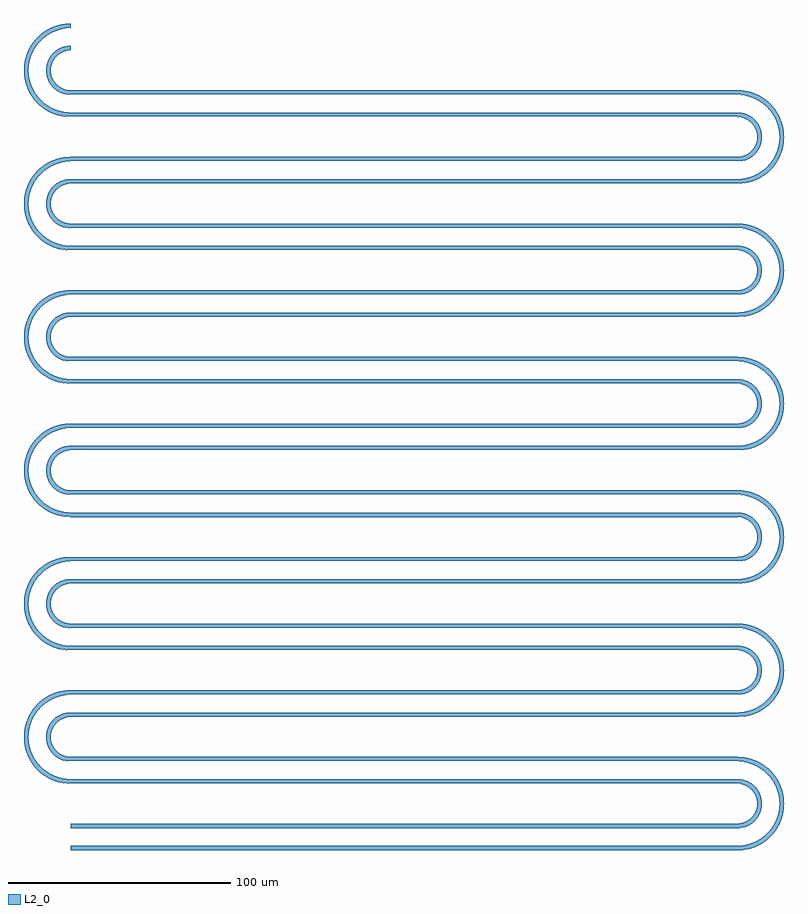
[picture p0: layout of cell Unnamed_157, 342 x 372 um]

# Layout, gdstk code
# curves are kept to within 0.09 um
import gdstk
lib = gdstk.Library(unit=1e-6, precision=1e-09)
def P(c, l, *ps):  # polygons
    for p in ps: c.add(gdstk.Polygon(p, *l))
L2_0 = (2, 0)

unnamed_157 = lib.new_cell('Unnamed_157')
P(unnamed_157, L2_0, [(0,-6),(0,-4),(300.119,-4),(302.561,-3.827),(304.961,-3.341),(308.043,-2.214),(310.788,-0.641),(313.276,1.407),(315.417,3.895),(317.072,6.66),(318.236,9.665),(318.882,12.883),(318.968,16.105),(318.495,19.353),(317.47,22.471),(315.956,25.316),(314.064,27.776),(311.702,29.969),(309.057,31.703),(306.104,32.993),(302.975,33.766),(300.119,34),(-0.45,34.009),(-2.738,34.346),(-4.999,35.201),(-6.937,36.463),(-8.548,38.076),(-9.807,40.017),(-10.667,42.312),(-10.993,44.602),(-10.821,46.978),(-10.343,48.746),(-9.544,50.47),(-8.46,52.031),(-7.124,53.382),(-5.575,54.483),(-3.957,55.264),(-2.131,55.792),(-0.346,55.995),(300.119,56),(302.028,56.108),(303.974,56.42),(305.82,56.913),(307.608,57.59),(309.37,58.471),(311.081,59.566),(312.665,60.836),(314.064,62.224),(315.205,63.606),(316.66,65.864),(317.803,68.361),(318.574,70.997),(318.961,73.776),(318.934,76.582),(318.495,79.353),(317.608,82.14),(316.454,84.5),(318.728,84.5),(319.583,82.584),(320.263,80.515),(320.736,78.321),(320.972,76.089),(320.961,73.713),(320.681,71.353),(320.174,69.167),(319.486,67.17),(318.508,65.077),(317.306,63.104),(315.808,61.175),(314.291,59.612),(312.567,58.175),(310.7,56.93),(308.71,55.891),(306.558,55.05),(304.392,54.464),(302.11,54.106),(300.132,54),(-0.283,53.996),(-1.827,53.813),(-3.237,53.398),(-4.61,52.73),(-5.893,51.803),(-6.976,50.687),(-7.85,49.402),(-8.491,47.985),(-8.878,46.479),(-8.991,44.59),(-8.677,42.609),(-7.972,40.822),(-6.94,39.269),(-5.61,37.962),(-3.989,36.932),(-2.186,36.269),(-0.283,36.004),(300.132,36),(303.354,35.731),(306.809,34.866),(310.01,33.461),(313.09,31.421),(315.677,28.973),(317.813,26.123),(319.386,23.074),(320.457,19.746),(320.972,16.089),(320.862,12.595),(320.137,9.04),(318.869,5.782),(317.04,2.726),(314.767,0.069),(312.032,-2.212),(308.95,-3.997),(305.483,-5.272),(302.7,-5.826),(300.132,-6)],
  [(316.454,84.5),(315.169,86.442),(313.53,88.34),(311.702,89.969),(309.783,91.288),(307.498,92.458),(305.249,93.261),(302.975,93.766),(300.597,93.991),(-0.104,94),(-2.738,94.346),(-4.531,94.976),(-6.16,95.886),(-7.636,97.082),(-8.926,98.571),(-9.884,100.172),(-10.577,101.978),(-10.932,103.775),(-10.977,105.709),(-10.667,107.688),(-10.087,109.389),(-9.238,110.972),(-8.072,112.473),(-6.693,113.73),(-4.999,114.799),(-3.271,115.503),(-1.483,115.9),(-0.104,116),(301.254,116.041),(303.093,116.253),(304.961,116.659),(306.778,117.25),(308.581,118.048),(310.341,119.06),(311.796,120.105),(313.276,121.407),(314.536,122.764),(315.658,124.237),(316.66,125.864),(317.47,127.529),(318.15,129.379),(318.646,131.348),(318.913,133.18),(319,135.09),(318.895,136.998),(318.269,140.22),(317.15,143.178),(315.521,145.959),(313.361,148.509),(310.837,150.607),(308.043,152.214),(304.961,153.341),(301.79,153.916),(-0.519,154.012),(-2.972,154.409),(-5.183,155.297),(-7.124,156.618),(-8.844,158.459),(-10.087,160.611),(-10.802,162.92),(-10.998,165.225),(-10.667,167.688),(-9.807,169.983),(-8.46,172.031),(-6.693,173.73),(-4.594,174.995),(306.388,174.995),(303.354,174.269),(300.132,174),(-0.085,174),(-1.993,173.777),(-3.552,173.27),(-4.922,172.535),(-6.125,171.595),(-7.253,170.329),(-8.062,169.001),(-8.654,167.473),(-8.959,165.862),(-8.969,164.251),(-8.699,162.691),(-8.148,161.177),(-7.385,159.855),(-6.309,158.581),(-5.04,157.543),(-3.63,156.764),(-2.103,156.249),(-0.509,156.014),(300.132,156),(302.7,155.826),(304.65,155.479),(306.684,154.908),(308.469,154.217),(310.357,153.269),(312.032,152.212),(313.65,150.959),(315.138,149.555),(316.442,148.064),(317.671,146.346),(318.692,144.572),(319.535,142.707),(320.174,140.833),(320.646,138.842),(320.922,136.814),(320.999,134.769),(320.884,132.792),(320.174,129.167),(318.898,125.842),(317.117,122.833),(314.767,120.069),(312.032,117.788),(308.71,115.891),(305.355,114.694),(301.847,114.081),(-0.283,113.996),(-2.103,113.751),(-3.836,113.142),(-5.454,112.16),(-6.775,110.925),(-7.85,109.402),(-8.589,107.689),(-8.959,105.862),(-8.941,103.969),(-8.614,102.392),(-8.024,100.923),(-7.185,99.58),(-6.125,98.405),(-4.851,97.419),(-3.474,96.697),(-1.938,96.211),(-0.283,96.004),(301.254,95.963),(304.392,95.536),(307.43,94.642),(310.242,93.333),(312.725,91.706),(314.483,90.207),(316.066,88.524),(317.491,86.622),(318.692,84.572)],
  [(-4.594,174.995),(-2.402,175.735),(-0.104,176),(300.119,176),(302.502,176.165),(304.788,176.613),(307.881,177.711),(310.64,179.258),(313.017,181.159),(315.205,183.606),(316.939,186.393),(318.15,189.379),(318.831,192.468),(318.983,195.806),(318.574,199.003),(317.608,202.14),(316.148,205.013),(314.144,207.687),(311.796,209.895),(309.057,211.703),(306.104,212.993),(302.975,213.766),(300.119,214),(-0.45,214.009),(-2.738,214.346),(-4.999,215.201),(-6.937,216.463),(-8.548,218.076),(-9.807,220.017),(-10.667,222.312),(-10.993,224.602),(-10.821,226.978),(-10.343,228.746),(-9.544,230.47),(-8.46,232.031),(-7.124,233.382),(-5.575,234.483),(-3.957,235.264),(-2.131,235.792),(-0.346,235.995),(301.79,236.084),(304.149,236.458),(306.442,237.125),(308.687,238.102),(310.837,239.393),(312.798,240.956),(314.536,242.764),(315.956,244.684),(317.15,246.822),(318.059,249.095),(318.646,251.348),(318.961,253.776),(318.957,256.284),(318.646,258.652),(317.964,261.189),(317.046,263.393),(315.835,265.5),(318.187,265.5),(319.486,262.83),(320.331,260.26),(320.795,257.929),(320.989,255.693),(320.943,253.449),(320.658,251.223),(320.137,249.04),(319.386,246.926),(318.445,244.961),(317.231,242.995),(315.808,241.175),(314.291,239.612),(312.567,238.175),(310.7,236.93),(308.71,235.891),(306.558,235.05),(304.392,234.464),(302.11,234.106),(300.132,234),(-0.283,233.996),(-1.827,233.813),(-3.237,233.398),(-4.61,232.73),(-5.893,231.803),(-6.976,230.687),(-7.85,229.402),(-8.491,227.985),(-8.878,226.479),(-8.991,224.59),(-8.677,222.609),(-7.972,220.822),(-6.94,219.269),(-5.61,217.962),(-3.989,216.932),(-2.186,216.269),(-0.283,216.004),(300.132,216),(303.354,215.731),(306.809,214.866),(310.01,213.461),(312.882,211.585),(315.5,209.169),(317.671,206.346),(319.283,203.318),(320.411,199.939),(320.943,196.551),(320.91,193.055),(320.263,189.485),(319.095,186.26),(317.38,183.213),(315.184,180.493),(312.567,178.175),(309.543,176.293),(306.388,174.995)],
  [(315.835,265.5),(314.536,267.236),(312.886,268.963),(311.081,270.434),(309.162,271.645),(307.112,272.619),(304.961,273.341),(302.739,273.802),(300.597,273.991),(-0.104,274),(-2.671,274.329),(-4.531,274.976),(-6.16,275.886),(-7.611,277.058),(-8.844,278.459),(-9.807,280.017),(-10.508,281.746),(-10.911,283.603),(-10.989,285.501),(-10.731,287.419),(-10.168,289.198),(-9.294,290.885),(-8.119,292.422),(-6.693,293.73),(-5.183,294.703),(-3.402,295.461),(-1.483,295.9),(-0.104,296),(301.254,296.041),(303.093,296.253),(304.961,296.659),(306.778,297.25),(308.581,298.048),(310.341,299.06),(311.796,300.105),(313.276,301.407),(314.536,302.764),(315.658,304.237),(316.66,305.864),(317.47,307.529),(318.15,309.379),(318.646,311.348),(318.913,313.18),(319,315.09),(318.895,316.998),(318.269,320.22),(317.15,323.178),(315.521,325.959),(313.361,328.509),(310.837,330.607),(308.043,332.214),(304.961,333.341),(301.79,333.916),(-0.519,334.012),(-2.972,334.409),(-5.183,335.297),(-7.124,336.618),(-8.844,338.459),(-10.087,340.611),(-10.802,342.92),(-10.998,345.225),(-10.667,347.688),(-10.045,349.484),(-9.143,351.117),(-8.001,352.549),(-6.693,353.73),(-5.183,354.703),(-3.567,355.406),(-1.825,355.848),(0,356),(0,354),(-1.993,353.777),(-3.836,353.142),(-5.521,352.108),(-6.94,350.731),(-7.766,349.549),(-8.443,348.118),(-8.838,346.702),(-8.999,345.156),(-8.878,343.521),(-8.393,341.75),(-7.589,340.161),(-6.566,338.844),(-5.295,337.722),(-3.759,336.822),(-2.103,336.249),(-0.34,336.006),(301.847,335.919),(305.355,335.306),(308.71,334.109),(311.814,332.362),(314.626,330.069),(316.962,327.381),(318.811,324.336),(320.137,320.96),(320.862,317.405),(320.996,315.429),(320.933,313.318),(320.658,311.223),(320.21,309.294),(319.559,307.354),(318.722,305.487),(317.707,303.71),(316.524,302.04),(315.184,300.493),(313.75,299.127),(312.14,297.864),(310.357,296.731),(308.469,295.783),(306.684,295.092),(304.65,294.521),(302.7,294.174),(300.132,294),(-0.509,293.986),(-2.103,293.751),(-3.63,293.236),(-5.04,292.457),(-6.248,291.478),(-7.303,290.26),(-8.124,288.874),(-8.677,287.391),(-8.959,285.862),(-8.969,284.251),(-8.699,282.691),(-8.148,281.177),(-7.385,279.855),(-6.309,278.581),(-5.087,277.575),(-3.759,276.822),(-2.186,276.269),(-0.085,276),(300.66,275.99),(303.614,275.687),(306.558,274.95),(309.484,273.737),(312.032,272.212),(313.75,270.873),(315.5,269.169),(316.962,267.381),(318.187,265.5)],
  [(0,4),(0,6),(300.085,6),(301.993,6.223),(303.552,6.73),(304.922,7.465),(306.125,8.405),(307.253,9.671),(308.062,10.999),(308.654,12.527),(308.959,14.138),(308.969,15.749),(308.699,17.309),(308.148,18.823),(307.385,20.145),(306.309,21.419),(305.04,22.457),(303.63,23.236),(302.103,23.751),(300.509,23.986),(-0.132,24),(-2.7,24.174),(-4.65,24.521),(-6.684,25.092),(-8.469,25.783),(-10.357,26.731),(-12.032,27.788),(-13.65,29.041),(-15.138,30.445),(-16.442,31.936),(-17.671,33.654),(-18.692,35.428),(-19.486,37.17),(-20.137,39.04),(-20.646,41.158),(-20.91,43.055),(-20.91,46.945),(-20.263,50.515),(-18.983,53.98),(-17.231,57.005),(-14.861,59.838),(-12.032,62.212),(-8.95,63.997),(-5.483,65.272),(-1.847,65.919),(300.283,66.004),(302.186,66.269),(304.039,66.957),(305.676,68.015),(307.047,69.401),(308.087,71.05),(308.748,72.883),(308.999,74.844),(308.827,76.758),(308.393,78.25),(307.723,79.622),(306.849,80.839),(305.742,81.931),(304.537,82.773),(303.105,83.448),(301.66,83.846),(300.198,83.998),(-1.254,84.037),(-3.744,84.336),(-6.307,84.969),(-8.71,85.891),(-11.039,87.135),(-13.193,88.661),(-15.138,90.445),(-16.726,92.301),(-18.187,94.5),(-15.835,94.5),(-14.381,92.582),(-12.665,90.836),(-10.64,89.258),(-8.367,87.941),(-6.442,87.125),(-4.556,86.554),(-2.561,86.173),(-0.597,86.009),(300.519,85.988),(302.301,85.757),(303.957,85.264),(305.575,84.483),(307.018,83.471),(308.326,82.189),(309.349,80.797),(310.168,79.198),(310.723,77.453),(311,75.086),(310.746,72.649),(309.988,70.39),(308.719,68.293),(307.018,66.529),(304.999,65.201),(302.738,64.346),(300.45,64.009),(-1.79,63.916),(-4.961,63.341),(-8.043,62.214),(-10.788,60.641),(-13.276,58.593),(-15.347,56.202),(-17.072,53.34),(-18.236,50.335),(-18.882,47.117),(-18.999,45.209),(-18.924,43.299),(-18.646,41.348),(-18.185,39.494),(-17.516,37.639),(-16.717,35.969),(-15.658,34.237),(-14.536,32.764),(-13.276,31.407),(-11.796,30.105),(-10.341,29.06),(-8.581,28.048),(-6.778,27.25),(-4.961,26.659),(-3.093,26.253),(-1.254,26.041),(300.104,26),(301.483,25.9),(303.402,25.461),(305.183,24.703),(306.693,23.73),(308.119,22.422),(309.294,20.885),(310.168,19.198),(310.731,17.419),(310.989,15.501),(310.911,13.603),(310.508,11.746),(309.807,10.017),(308.761,8.348),(307.511,6.963),(305.929,5.734),(304.214,4.839),(302.436,4.273),(300.104,4)],
  [(-18.187,94.5),(-19.309,96.743),(-20.21,99.294),(-20.776,101.94),(-20.993,104.439),(-20.91,106.945),(-20.486,109.618),(-19.745,112.151),(-18.722,114.513),(-17.38,116.787),(-15.808,118.825),(-13.998,120.655),(-12.032,122.212),(-9.719,123.616),(-7.43,124.642),(-4.907,125.419),(-2.372,125.866),(-0.132,126),(300.283,126.004),(301.938,126.211),(303.474,126.697),(304.851,127.419),(306.125,128.405),(307.185,129.58),(308.024,130.923),(308.614,132.392),(308.931,133.885),(308.969,135.749),(308.614,137.608),(307.905,139.303),(306.867,140.818),(305.521,142.108),(303.938,143.093),(302.186,143.731),(300.283,143.996),(-0.132,144),(-3.354,144.269),(-6.809,145.134),(-10.01,146.539),(-12.882,148.415),(-15.5,150.831),(-17.671,153.654),(-19.283,156.682),(-20.411,160.061),(-20.943,163.449),(-20.91,166.945),(-20.263,170.515),(-19.095,173.74),(-17.38,176.787),(-15.184,179.507),(-12.567,181.825),(-9.543,183.707),(-6.388,185.005),(304.594,185.005),(302.402,184.265),(300.104,184),(-0.119,184),(-2.739,183.802),(-5.249,183.261),(-8.367,182.059),(-11.081,180.434),(-13.53,178.34),(-15.59,175.861),(-17.15,173.178),(-18.269,170.22),(-18.895,166.998),(-18.961,163.776),(-18.495,160.647),(-17.47,157.529),(-15.956,154.684),(-14.064,152.224),(-11.702,150.031),(-9.057,148.297),(-6.104,147.007),(-2.975,146.234),(-0.119,146),(300.45,145.991),(302.738,145.654),(304.875,144.861),(306.802,143.645),(308.46,142.031),(309.727,140.137),(310.596,137.955),(310.975,135.743),(310.888,133.431),(310.466,131.614),(309.727,129.863),(308.719,128.293),(307.384,126.846),(305.929,125.734),(304.15,124.813),(302.301,124.243),(300.346,124.005),(-0.119,124),(-2.206,123.872),(-4.324,123.502),(-6.611,122.813),(-8.687,121.898),(-10.64,120.742),(-12.35,119.439),(-14.064,117.776),(-15.452,116.056),(-16.66,114.136),(-17.718,111.862),(-18.495,109.353),(-18.913,106.82),(-18.988,104.313),(-18.722,101.76),(-18.096,99.208),(-17.15,96.822),(-15.835,94.5)],
  [(-6.388,185.005),(-3.354,185.731),(-0.132,186),(300.085,186),(301.993,186.223),(303.552,186.73),(304.922,187.465),(306.125,188.405),(307.253,189.671),(308.062,190.999),(308.654,192.527),(308.959,194.138),(308.969,195.749),(308.699,197.309),(308.148,198.823),(307.385,200.145),(306.309,201.419),(305.04,202.457),(303.63,203.236),(302.103,203.751),(300.509,203.986),(-0.132,204),(-2.7,204.174),(-4.65,204.521),(-6.684,205.092),(-8.469,205.783),(-10.357,206.731),(-12.032,207.788),(-13.65,209.041),(-15.138,210.445),(-16.442,211.936),(-17.671,213.654),(-18.692,215.428),(-19.486,217.17),(-20.137,219.04),(-20.646,221.158),(-20.91,223.055),(-21,225.099),(-20.897,227.077),(-20.228,230.642),(-18.955,234.039),(-17.117,237.167),(-14.767,239.931),(-12.032,242.212),(-8.71,244.109),(-5.355,245.306),(-1.847,245.919),(300.283,246.004),(302.186,246.269),(303.938,246.907),(305.521,247.892),(306.867,249.182),(307.932,250.747),(308.654,252.527),(308.969,254.251),(308.92,256.199),(308.572,257.743),(307.932,259.253),(307.047,260.599),(305.957,261.747),(304.683,262.686),(303.369,263.346),(301.827,263.813),(300.283,263.996),(-1.254,264.037),(-4.004,264.385),(-6.684,265.092),(-9.129,266.088),(-11.595,267.491),(-13.75,269.127),(-15.677,271.027),(-17.306,273.104),(-18.728,275.5),(-16.454,275.5),(-15.024,273.368),(-13.276,271.407),(-11.274,269.706),(-9.057,268.297),(-7.223,267.426),(-5.249,266.739),(-3.27,266.283),(-1.075,266.03),(300.277,265.997),(302.131,265.792),(303.86,265.301),(305.515,264.518),(307.018,263.471),(308.326,262.189),(309.349,260.797),(310.168,259.198),(310.731,257.419),(311,255.086),(310.746,252.649),(309.988,250.39),(308.719,248.293),(307.018,246.529),(304.999,245.201),(302.738,244.346),(300.45,244.009),(-1.79,243.916),(-4.961,243.341),(-8.151,242.163),(-10.983,240.504),(-13.53,238.34),(-15.59,235.861),(-17.201,233.07),(-18.349,229.932),(-18.924,226.701),(-18.999,224.791),(-18.882,222.883),(-18.574,220.997),(-18.096,219.208),(-17.47,217.529),(-16.573,215.708),(-15.59,214.139),(-14.381,212.582),(-11.702,210.031),(-10.089,208.9),(-8.474,207.994),(-6.778,207.25),(-4.961,206.659),(-3.093,206.253),(-1.254,206.041),(300.104,206),(301.414,205.909),(303.205,205.523),(304.875,204.861),(306.331,203.996),(307.711,202.845),(308.844,201.541),(309.807,199.983),(310.466,198.386),(310.878,196.637),(311,194.914),(310.845,193.158),(310.389,191.384),(309.662,189.741),(308.719,188.293),(307.511,186.963),(306.16,185.886),(304.594,185.005)],
  [(-18.728,275.5),(-19.745,277.849),(-20.442,280.189),(-20.877,282.726),(-20.999,285.231),(-20.813,287.798),(-20.331,290.26),(-19.559,292.646),(-18.508,294.923),(-17.117,297.167),(-15.5,299.169),(-13.75,300.873),(-11.705,302.436),(-9.484,303.737),(-7.182,304.734),(-4.907,305.419),(-2.372,305.866),(-0.132,306),(300.283,306.004),(301.827,306.187),(303.237,306.602),(304.61,307.27),(305.893,308.197),(306.976,309.313),(307.85,310.598),(308.491,312.015),(308.878,313.521),(308.991,315.41),(308.677,317.391),(307.972,319.178),(306.94,320.731),(305.61,322.038),(303.989,323.068),(302.186,323.731),(300.283,323.996),(-0.132,324),(-3.354,324.269),(-6.809,325.134),(-10.357,326.731),(-13.499,328.913),(-16.193,331.628),(-18.285,334.672),(-19.855,338.16),(-20.736,341.679),(-20.996,345.429),(-20.596,349.101),(-19.559,352.646),(-17.917,355.954),(-15.677,358.973),(-12.882,361.585),(-9.719,363.616),(-6.307,365.031),(-2.7,365.826),(0,366),(0,364),(-2.206,363.872),(-4.324,363.502),(-6.33,362.915),(-8.367,362.059),(-10.341,360.94),(-11.983,359.745),(-13.53,358.34),(-15.024,356.632),(-16.717,354.031),(-17.964,351.189),(-18.732,348.182),(-19,345.09),(-18.732,341.818),(-17.885,338.586),(-16.425,335.448),(-14.536,332.764),(-12.213,330.445),(-9.37,328.471),(-6.33,327.085),(-2.975,326.234),(-0.119,326),(300.346,325.995),(302.301,325.757),(304.15,325.187),(305.929,324.266),(307.384,323.154),(308.719,321.707),(309.807,319.983),(310.548,318.122),(310.924,316.294),(310.965,314.119),(310.548,311.878),(309.662,309.741),(308.371,307.863),(306.693,306.27),(304.875,305.139),(302.738,304.346),(300.45,304.009),(-0.119,304),(-2.265,303.865),(-4.324,303.502),(-6.442,302.875),(-8.474,302.006),(-10.341,300.94),(-12.213,299.555),(-13.82,298.039),(-15.205,296.394),(-16.425,294.552),(-17.516,292.361),(-18.349,289.932),(-18.831,287.532),(-19,285.09),(-18.831,282.468),(-18.349,280.068),(-17.608,277.86),(-16.454,275.5)])

lib.write_gds('Unnamed_157.gds')
